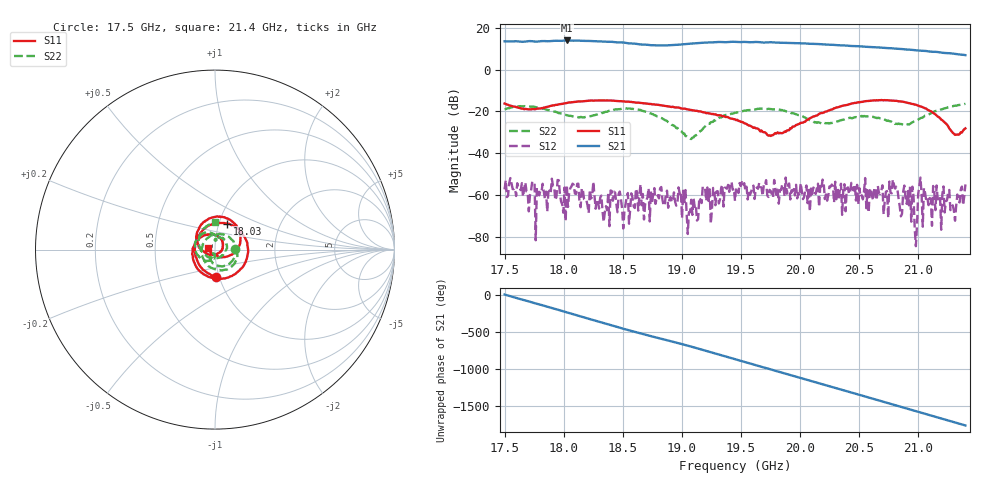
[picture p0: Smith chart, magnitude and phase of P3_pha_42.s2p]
!Created with skrf (http://scikit-rf.org).
# GHz S RI R 50.0
!freq ReS11 ImS11 ReS21 ImS21 ReS12 ImS12 ReS22 ImS22
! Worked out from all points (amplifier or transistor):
!   401 points, 17.5 GHz to 21.4 GHz, reference 50 ohm
!   highest |S21| = 14.1 dB at 18.03 GHz (marker M1)
!   |S21| within 3 dB of that: start of sweep to 20.54 GHz
!   unconditionally stable (mu >= 1): start of sweep to end of sweep
!   at 18.14 GHz: K = 191.42, MAG = 14.1 dB, |S12| = -65.9 dB
!   at 19.45 GHz: K = 147.09, MAG = 13.5 dB, |S12| = -62.9 dB
!   at 21.4 GHz: K = 121.84, MAG = 7.2 dB, |S12| = -55.0 dB
!   S11 on the Smith chart (normalised r, x): 17.5 GHz: 0.97, -0.31; 18.03 GHz: 1.09, +0.32; 21.4 GHz: 0.93, +0.01
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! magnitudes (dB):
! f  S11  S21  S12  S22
! 17.5 GHz  -16.2  13.7  -57.4  -19.0
! 18.03 GHz  -15.9  14.1  -55.2  -21.8
! 18.07 GHz  -15.6  14.0  -56.0  -22.2
! 18.15 GHz  -15.2  13.9  -56.8  -22.7
! 18.24 GHz  -14.7  13.8  -60.9  -22.1
! 18.35 GHz  -14.7  13.5  -68.4  -20.3
! 18.42 GHz  -14.8  13.4  -62.8  -19.4
! 18.5 GHz  -15.2  13.1  -76.1  -18.6
! 18.81 GHz  -16.9  11.8  -61.7  -22.8
! 19.08 GHz  -19.3  12.6  -62.4  -33.2
! 19.2 GHz  -20.5  13.0  -56.7  -27.2
! 19.26 GHz  -21.2  13.2  -56.7  -24.9
! 19.45 GHz  -23.8  13.4  -62.9  -20.6
! 19.75 GHz  -31.8  13.2  -58.1  -18.8
! 20.1 GHz  -22.7  12.4  -59.6  -24.7
! 20.76 GHz  -14.7  10.4  -53.7  -24.7
! 20.85 GHz  -15.2  10.0  -70.3  -26.0
! 20.89 GHz  -15.6  9.8  -61.3  -26.5
! 20.98 GHz  -16.8  9.4  -84.6  -24.7
! 21.01 GHz  -17.4  9.2  -55.8  -23.6
! 21.29 GHz  -30.2  7.8  -65.0  -17.5
! 21.4 GHz  -28.1  7.0  -55.0  -16.3
